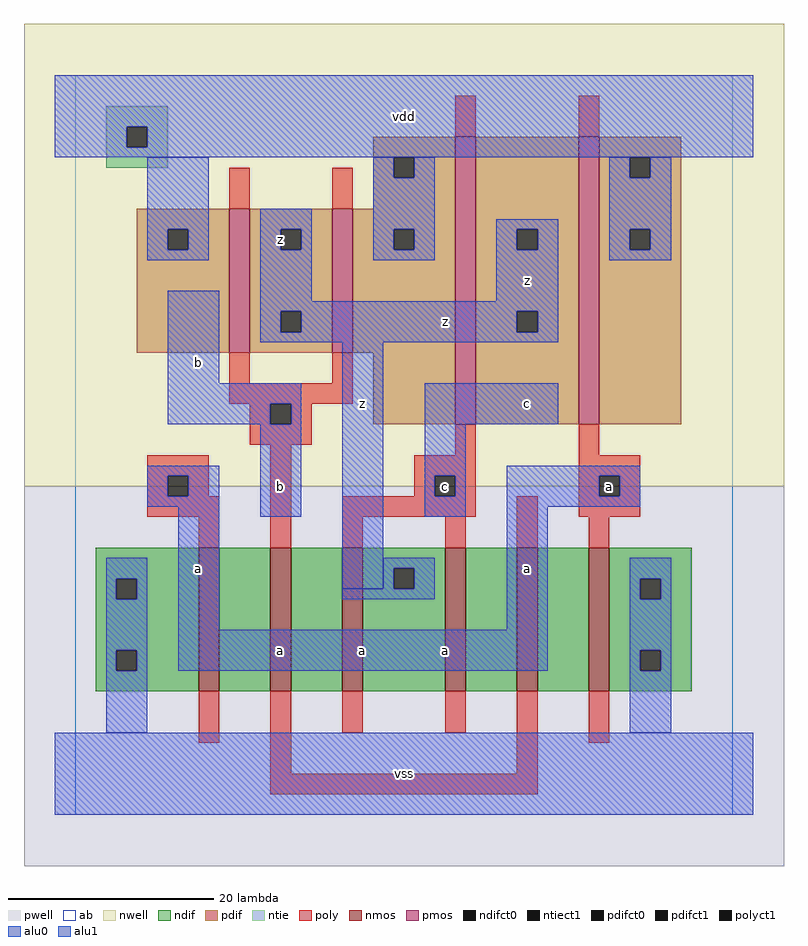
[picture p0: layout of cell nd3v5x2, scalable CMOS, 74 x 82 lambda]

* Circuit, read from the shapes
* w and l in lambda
.subckt nd3v5x2 a b c vdd vss z
M1 n1 a vss VSUBS nfet w=14 l=2
M2 n2 b n1 VSUBS nfet w=14 l=2
M3 z c n2 VSUBS nfet w=14 l=2
M4 n3 c z VSUBS nfet w=14 l=2
M5 n4 b n3 VSUBS nfet w=14 l=2
M6 vss a n4 VSUBS nfet w=14 l=2
M7 z b vdd vdd pfet w=14 l=2 m=2
M8 z c vdd vdd pfet w=28 l=2
M9 vdd a z vdd pfet w=28 l=2
.ends

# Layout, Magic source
magic
tech scmos
<< ab >>
rect 0 0 64 72
<< nwell >>
rect -5 32 69 77
<< pwell >>
rect -5 -5 69 32
<< poly >>
rect 37 66 39 70
rect 49 66 51 70
rect 15 59 17 63
rect 25 59 27 63
rect 15 42 17 45
rect 25 42 27 45
rect 15 40 27 42
rect 17 38 19 40
rect 21 38 23 40
rect 17 36 23 38
rect 7 33 13 35
rect 7 31 9 33
rect 11 31 13 33
rect 7 29 14 31
rect 12 26 14 29
rect 19 26 21 36
rect 37 35 39 38
rect 33 33 39 35
rect 33 31 35 33
rect 37 31 39 33
rect 49 35 51 38
rect 49 33 55 35
rect 49 31 51 33
rect 53 31 55 33
rect 26 29 39 31
rect 26 26 28 29
rect 36 26 38 29
rect 43 26 45 31
rect 49 29 55 31
rect 50 26 52 29
rect 12 7 14 12
rect 19 4 21 12
rect 26 8 28 12
rect 36 8 38 12
rect 43 4 45 12
rect 50 7 52 12
rect 19 2 45 4
<< ndif >>
rect 2 23 12 26
rect 2 21 4 23
rect 6 21 12 23
rect 2 16 12 21
rect 2 14 4 16
rect 6 14 12 16
rect 2 12 12 14
rect 14 12 19 26
rect 21 12 26 26
rect 28 24 36 26
rect 28 22 31 24
rect 33 22 36 24
rect 28 12 36 22
rect 38 12 43 26
rect 45 12 50 26
rect 52 23 60 26
rect 52 21 55 23
rect 57 21 60 23
rect 52 16 60 21
rect 52 14 55 16
rect 57 14 60 16
rect 52 12 60 14
<< pdif >>
rect 29 64 37 66
rect 29 62 31 64
rect 33 62 37 64
rect 29 59 37 62
rect 6 57 15 59
rect 6 55 9 57
rect 11 55 15 57
rect 6 45 15 55
rect 17 57 25 59
rect 17 55 20 57
rect 22 55 25 57
rect 17 49 25 55
rect 17 47 20 49
rect 22 47 25 49
rect 17 45 25 47
rect 27 57 37 59
rect 27 55 31 57
rect 33 55 37 57
rect 27 45 37 55
rect 29 38 37 45
rect 39 57 49 66
rect 39 55 43 57
rect 45 55 49 57
rect 39 49 49 55
rect 39 47 43 49
rect 45 47 49 49
rect 39 38 49 47
rect 51 64 59 66
rect 51 62 54 64
rect 56 62 59 64
rect 51 57 59 62
rect 51 55 54 57
rect 56 55 59 57
rect 51 38 59 55
<< alu1 >>
rect -2 67 66 72
rect -2 65 5 67
rect 7 65 66 67
rect -2 64 66 65
rect 18 57 23 59
rect 18 55 20 57
rect 22 55 23 57
rect 9 42 14 51
rect 18 50 23 55
rect 41 57 47 58
rect 41 55 43 57
rect 45 55 47 57
rect 41 50 47 55
rect 18 49 47 50
rect 18 47 20 49
rect 22 47 43 49
rect 45 47 47 49
rect 18 46 47 47
rect 9 40 22 42
rect 9 38 19 40
rect 21 38 22 40
rect 7 33 14 34
rect 7 31 9 33
rect 11 31 14 33
rect 7 30 14 31
rect 10 18 14 30
rect 18 29 22 38
rect 26 22 30 46
rect 34 38 47 42
rect 34 33 38 38
rect 34 31 35 33
rect 37 31 38 33
rect 34 29 38 31
rect 42 33 55 34
rect 42 31 51 33
rect 53 31 55 33
rect 42 30 55 31
rect 42 18 46 30
rect 10 14 46 18
rect -2 0 66 8
<< ntie >>
rect 3 67 9 69
rect 3 65 5 67
rect 7 65 9 67
rect 3 63 9 65
<< nmos >>
rect 12 12 14 26
rect 19 12 21 26
rect 26 12 28 26
rect 36 12 38 26
rect 43 12 45 26
rect 50 12 52 26
<< pmos >>
rect 15 45 17 59
rect 25 45 27 59
rect 37 38 39 66
rect 49 38 51 66
<< polyct1 >>
rect 19 38 21 40
rect 9 31 11 33
rect 35 31 37 33
rect 51 31 53 33
<< ndifct0 >>
rect 4 21 6 23
rect 4 14 6 16
rect 31 22 33 24
rect 55 21 57 23
rect 55 14 57 16
<< ntiect1 >>
rect 5 65 7 67
<< pdifct0 >>
rect 31 62 33 64
rect 9 55 11 57
rect 31 55 33 57
rect 54 62 56 64
rect 54 55 56 57
<< pdifct1 >>
rect 20 55 22 57
rect 20 47 22 49
rect 43 55 45 57
rect 43 47 45 49
<< alu0 >>
rect 7 57 13 64
rect 29 62 31 64
rect 33 62 35 64
rect 7 55 9 57
rect 11 55 13 57
rect 7 54 13 55
rect 29 57 35 62
rect 52 62 54 64
rect 56 62 58 64
rect 29 55 31 57
rect 33 55 35 57
rect 29 54 35 55
rect 52 57 58 62
rect 52 55 54 57
rect 56 55 58 57
rect 52 54 58 55
rect 3 23 7 25
rect 3 21 4 23
rect 6 21 7 23
rect 3 16 7 21
rect 3 14 4 16
rect 6 14 7 16
rect 30 24 35 25
rect 30 22 31 24
rect 33 22 35 24
rect 26 21 35 22
rect 54 23 58 25
rect 54 21 55 23
rect 57 21 58 23
rect 54 16 58 21
rect 54 14 55 16
rect 57 14 58 16
rect 3 8 7 14
rect 54 8 58 14
<< labels >>
rlabel alu1 12 24 12 24 6 a
rlabel alu1 12 44 12 44 6 b
rlabel alu1 20 16 20 16 6 a
rlabel alu1 28 16 28 16 6 a
rlabel alu1 20 32 20 32 6 b
rlabel alu1 28 40 28 40 6 z
rlabel alu1 20 56 20 56 6 z
rlabel alu1 32 4 32 4 6 vss
rlabel alu1 36 16 36 16 6 a
rlabel polyct1 36 32 36 32 6 c
rlabel alu1 44 24 44 24 6 a
rlabel alu1 44 40 44 40 6 c
rlabel alu1 36 48 36 48 6 z
rlabel alu1 44 52 44 52 6 z
rlabel alu1 32 68 32 68 6 vdd
rlabel polyct1 52 32 52 32 6 a
<< end >>
